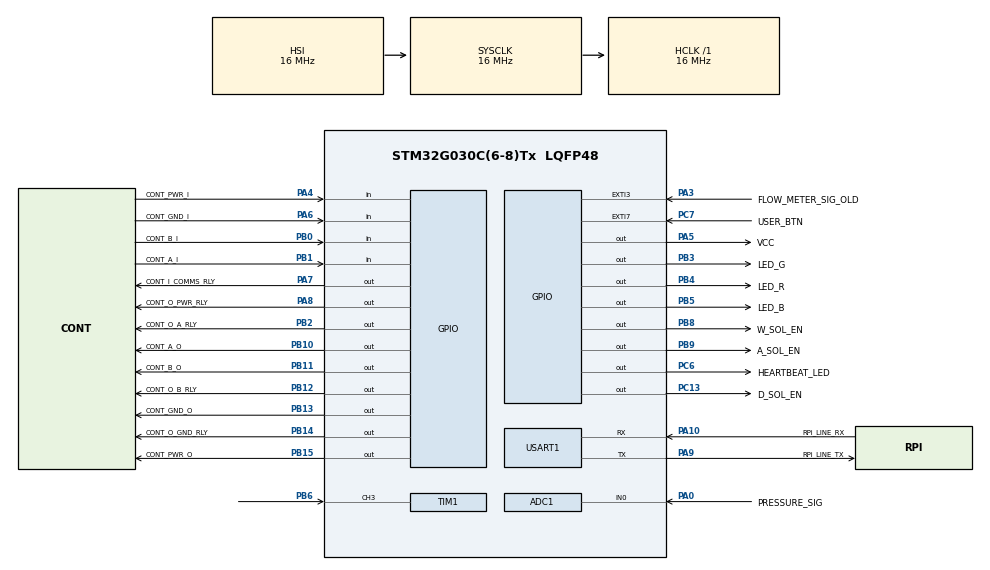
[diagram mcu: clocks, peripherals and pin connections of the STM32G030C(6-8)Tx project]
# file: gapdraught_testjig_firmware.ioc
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ADC1.Channel-0\#ChannelRegularConversion=ADC_CHANNEL_0
ADC1.NbrOfConversionFlag=1
ADC1.Rank-0\#ChannelRegularConversion=1
ADC1.SamplingTime-0\#ChannelRegularConversion=ADC_SAMPLINGTIME_COMMON_1
ADC1.SamplingTimeCommon1=ADC_SAMPLETIME_79CYCLES_5
ADC1.SamplingTimeCommon2=ADC_SAMPLETIME_79CYCLES_5
ADC1.SelectedChannel=ADC_CHANNEL_0
ADC1.master=1
Mcu.Family=STM32G0
Mcu.Name=STM32G030C(6-8)Tx
Mcu.Package=LQFP48
NVIC.TIM17_IRQn=true\:3\:0\:false\:false\:true\:false\:true\:true
NVIC.TimeBase=TIM17_IRQn
NVIC.TimeBaseIP=TIM17
NVIC.USART1_IRQn=true\:0\:0\:false\:false\:true\:true\:true\:true
PA0.GPIO_Label=PRESSURE_SIG
PA0.Mode=IN0
PA0.Signal=ADC1_IN0
PA10.GPIO_Label=RPi_LINE_RX
PA10.Mode=Asynchronous
PA10.Signal=USART1_RX
PA13.Mode=Serial_Wire
PA13.Signal=SYS_SWDIO
PA14-BOOT0.Mode=Serial_Wire
PA14-BOOT0.Signal=SYS_SWCLK
PA2.GPIO_Label=TAG_TX
PA2.Signal=USART2_TX
PA3.GPIO_Label=FLOW_METER_SIG_OLD
PA3.GPIO_ModeDefaultEXTI=GPIO_MODE_IT_FALLING
PA3.Signal=GPXTI3
PA4.GPIO_Label=CONT_PWR_I
PA4.Signal=GPIO_Input
PA5.GPIO_Label=VCC
PA5.Signal=GPIO_Output
PA6.GPIO_Label=CONT_GND_I
PA6.Signal=GPIO_Input
PA7.GPIO_Label=CONT_I_COMMS_RLY
PA7.Signal=GPIO_Output
PA8.GPIO_Label=CONT_O_PWR_RLY
PA8.Signal=GPIO_Output
PA9.GPIO_Label=RPi_LINE_TX
PA9.Mode=Asynchronous
PA9.Signal=USART1_TX
PB0.GPIO_Label=CONT_B_I
PB0.Signal=GPIO_Input
PB1.GPIO_Label=CONT_A_I
PB1.Signal=GPIO_Input
PB10.GPIO_Label=CONT_A_O
PB10.GPIO_ModeDefaultOutputPP=GPIO_MODE_OUTPUT_OD
PB10.GPIO_PuPd=GPIO_NOPULL
PB10.Signal=GPIO_Output
PB11.GPIO_Label=CONT_B_O
PB11.GPIO_ModeDefaultOutputPP=GPIO_MODE_OUTPUT_OD
PB11.GPIO_PuPd=GPIO_NOPULL
PB11.Signal=GPIO_Output
PB12.GPIO_Label=CONT_O_B_RLY
PB12.Signal=GPIO_Output
PB13.GPIO_Label=CONT_GND_O
PB13.GPIO_ModeDefaultOutputPP=GPIO_MODE_OUTPUT_OD
PB13.GPIO_PuPd=GPIO_NOPULL
PB13.Signal=GPIO_Output
PB14.GPIO_Label=CONT_O_GND_RLY
PB14.Signal=GPIO_Output
PB15.GPIO_Label=CONT_PWR_O
PB15.GPIO_ModeDefaultOutputPP=GPIO_MODE_OUTPUT_OD
PB15.GPIO_PuPd=GPIO_NOPULL
PB15.Signal=GPIO_Output
PB2.GPIO_Label=CONT_O_A_RLY
PB2.Signal=GPIO_Output
PB3.GPIO_Label=LED_G
PB3.GPIO_ModeDefaultOutputPP=GPIO_MODE_OUTPUT_OD
PB3.GPIO_PuPd=GPIO_NOPULL
PB3.Signal=GPIO_Output
PB4.GPIO_Label=LED_R
PB4.GPIO_ModeDefaultOutputPP=GPIO_MODE_OUTPUT_OD
PB4.GPIO_PuPd=GPIO_NOPULL
PB4.Signal=GPIO_Output
PB5.GPIO_Label=LED_B
PB5.GPIO_ModeDefaultOutputPP=GPIO_MODE_OUTPUT_OD
PB5.GPIO_PuPd=GPIO_NOPULL
PB5.Signal=GPIO_Output
PB6.Signal=S_TIM1_CH3
PB8.GPIO_Label=W_SOL_EN
PB8.Signal=GPIO_Output
PB9.GPIO_Label=A_SOL_EN
PB9.Signal=GPIO_Output
PC13.GPIO_Label=D_SOL_EN
PC13.Signal=GPIO_Output
PC6.GPIO_Label=HEARTBEAT_LED
PC6.GPIO_ModeDefaultOutputPP=GPIO_MODE_OUTPUT_OD
PC6.GPIO_PuPd=GPIO_NOPULL
PC6.Signal=GPIO_Output
PC7.GPIO_Label=USER_BTN
PC7.Signal=GPXTI7
ProjectManager.HeapSize=0x200
ProjectManager.StackSize=0x400
ProjectManager.TargetToolchain=STM32CubeIDE
RCC.AHBFreq_Value=16000000
RCC.CortexFreq_Value=16000000
RCC.EXTERNAL_CLOCK_VALUE=12288000
RCC.HCLKFreq_Value=16000000
RCC.HSE_VALUE=8000000
RCC.HSI_VALUE=16000000
RCC.LSE_VALUE=32768
RCC.SYSCLKFreq_VALUE=16000000
RCC.VCOOutputFreq_Value=128000000
SH.S_TIM1_CH3.0=TIM1_CH3,Input_Capture3_from_TI3
TIM1.Channel-Input_Capture3_from_TI3=TIM_CHANNEL_3
TIM1.ICFilter_CH3=8
TIM1.ICPolarity_CH3=TIM_INPUTCHANNELPOLARITY_FALLING
TIM1.Period=0xffff
TIM1.Prescaler=15999
USART1.VirtualMode-Asynchronous=VM_ASYNC
VP_SYS_VS_tim17.Mode=TIM17
VP_TIM1_VS_ClockSourceINT.Mode=Internal
board=custom

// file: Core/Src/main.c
/* USER CODE BEGIN Header */
/**
 ******************************************************************************
 * @file           : main.c
 * @brief          : Main program body
 ******************************************************************************
 * @attention
 *
 * Copyright (c) 2026 STMicroelectronics.
 * All rights reserved.
 *
 * This software is licensed under terms that can be found in the LICENSE file
 * in the root directory of this software component.
 * If no LICENSE file comes with this software, it is provided AS-IS.
 *
 ******************************************************************************
 */
/* USER CODE END Header */
#include "main.h"

/* USER CODE BEGIN Includes */
#include "comms.h"
#include "flow_cal.h"
#include "pressure_test.h"
#include "cont_test.h"
/* USER CODE END Includes */

/* USER CODE BEGIN PD */
#define HEARTBEAT_PERIOD_MS 1000
#define DEBUG_FLASH_PERIOD_MS 500
/* USER CODE END PD */

ADC_HandleTypeDef hadc1;

TIM_HandleTypeDef htim1;

UART_HandleTypeDef huart1;

/* USER CODE BEGIN PV */
uint32_t last_beat = 0;
uint32_t last_flash = 0;
States_t state = IDLE_COMMS;
uint8_t debug_flash_mode = 0;
/* USER CODE END PV */

void SystemClock_Config(void);
static void MX_GPIO_Init(void);
static void MX_ADC1_Init(void);
static void MX_USART1_UART_Init(void);
static void MX_TIM1_Init(void);
/* USER CODE BEGIN PFP */
void Heartbeat(void);
/* USER CODE END PFP */

int main(void)
{

  /* MCU Configuration--------------------------------------------------------*/

  /* Reset of all peripherals, Initializes the Flash interface and the Systick. */
  HAL_Init();

  /* Configure the system clock */
  SystemClock_Config();

  /* Initialize all configured peripherals */
  MX_GPIO_Init();
  MX_ADC1_Init();
  MX_USART1_UART_Init();
  MX_TIM1_Init();
  /* USER CODE BEGIN 2 */
	InitComms(&huart1);
	FlowMeter_Init(&htim1);
  /* USER CODE END 2 */

  /* Infinite loop */
	while (1) {

    /* USER CODE BEGIN 3 */
		RunComms();
		PressureTest();
		ContTest();
		FlowCalibration();
		Heartbeat();
	}
  /* USER CODE END 3 */
}

void SystemClock_Config(void)
{
  RCC_OscInitTypeDef RCC_OscInitStruct = {0};
  RCC_ClkInitTypeDef RCC_ClkInitStruct = {0};

  /** Configure the main internal regulator output voltage
  */
  HAL_PWREx_ControlVoltageScaling(PWR_REGULATOR_VOLTAGE_SCALE1);

  /** Initializes the RCC Oscillators according to the specified parameters
  * in the RCC_OscInitTypeDef structure.
  */
  RCC_OscInitStruct.OscillatorType = RCC_OSCILLATORTYPE_HSI;
  RCC_OscInitStruct.HSIState = RCC_HSI_ON;
  RCC_OscInitStruct.HSIDiv = RCC_HSI_DIV1;
  RCC_OscInitStruct.HSICalibrationValue = RCC_HSICALIBRATION_DEFAULT;
  RCC_OscInitStruct.PLL.PLLState = RCC_PLL_NONE;
  if (HAL_RCC_OscConfig(&RCC_OscInitStruct) != HAL_OK)
  {
    Error_Handler();
  }

  /** Initializes the CPU, AHB and APB buses clocks
  */
  RCC_ClkInitStruct.ClockType = RCC_CLOCKTYPE_HCLK|RCC_CLOCKTYPE_SYSCLK
                              |RCC_CLOCKTYPE_PCLK1;
  RCC_ClkInitStruct.SYSCLKSource = RCC_SYSCLKSOURCE_HSI;
  RCC_ClkInitStruct.AHBCLKDivider = RCC_SYSCLK_DIV1;
  RCC_ClkInitStruct.APB1CLKDivider = RCC_HCLK_DIV1;

  if (HAL_RCC_ClockConfig(&RCC_ClkInitStruct, FLASH_LATENCY_0) != HAL_OK)
  {
    Error_Handler();
  }
}

static void MX_ADC1_Init(void)
{

  ADC_ChannelConfTypeDef sConfig = {0};

  /** Configure the global features of the ADC (Clock, Resolution, Data Alignment and number of conversion)
  */
  hadc1.Instance = ADC1;
  hadc1.Init.ClockPrescaler = ADC_CLOCK_SYNC_PCLK_DIV2;
  hadc1.Init.Resolution = ADC_RESOLUTION_12B;
  hadc1.Init.DataAlign = ADC_DATAALIGN_RIGHT;
  hadc1.Init.ScanConvMode = ADC_SCAN_DISABLE;
  hadc1.Init.EOCSelection = ADC_EOC_SINGLE_CONV;
  hadc1.Init.LowPowerAutoWait = DISABLE;
  hadc1.Init.LowPowerAutoPowerOff = DISABLE;
  hadc1.Init.ContinuousConvMode = DISABLE;
  hadc1.Init.NbrOfConversion = 1;
  hadc1.Init.DiscontinuousConvMode = DISABLE;
  hadc1.Init.ExternalTrigConv = ADC_SOFTWARE_START;
  hadc1.Init.ExternalTrigConvEdge = ADC_EXTERNALTRIGCONVEDGE_NONE;
  hadc1.Init.DMAContinuousRequests = DISABLE;
  hadc1.Init.Overrun = ADC_OVR_DATA_PRESERVED;
  hadc1.Init.SamplingTimeCommon1 = ADC_SAMPLETIME_79CYCLES_5;
  hadc1.Init.SamplingTimeCommon2 = ADC_SAMPLETIME_79CYCLES_5;
  hadc1.Init.OversamplingMode = DISABLE;
  hadc1.Init.TriggerFrequencyMode = ADC_TRIGGER_FREQ_HIGH;
  if (HAL_ADC_Init(&hadc1) != HAL_OK)
  {
    Error_Handler();
  }

  /** Configure Regular Channel
  */
  sConfig.Channel = ADC_CHANNEL_0;
  sConfig.Rank = ADC_REGULAR_RANK_1;
  sConfig.SamplingTime = ADC_SAMPLINGTIME_COMMON_1;
  if (HAL_ADC_ConfigChannel(&hadc1, &sConfig) != HAL_OK)
  {
    Error_Handler();
  }

}

static void MX_TIM1_Init(void)
{

  TIM_ClockConfigTypeDef sClockSourceConfig = {0};
  TIM_MasterConfigTypeDef sMasterConfig = {0};
  TIM_IC_InitTypeDef sConfigIC = {0};

  htim1.Instance = TIM1;
  htim1.Init.Prescaler = 15999;
  htim1.Init.CounterMode = TIM_COUNTERMODE_UP;
  htim1.Init.Period = 0xffff;
  htim1.Init.ClockDivision = TIM_CLOCKDIVISION_DIV1;
  htim1.Init.RepetitionCounter = 0;
  htim1.Init.AutoReloadPreload = TIM_AUTORELOAD_PRELOAD_DISABLE;
  if (HAL_TIM_Base_Init(&htim1) != HAL_OK)
  {
    Error_Handler();
  }
  sClockSourceConfig.ClockSource = TIM_CLOCKSOURCE_INTERNAL;
  if (HAL_TIM_ConfigClockSource(&htim1, &sClockSourceConfig) != HAL_OK)
  {
    Error_Handler();
  }
  if (HAL_TIM_IC_Init(&htim1) != HAL_OK)
  {
    Error_Handler();
  }
  sMasterConfig.MasterOutputTrigger = TIM_TRGO_RESET;
  sMasterConfig.MasterOutputTrigger2 = TIM_TRGO2_RESET;
  sMasterConfig.MasterSlaveMode = TIM_MASTERSLAVEMODE_DISABLE;
  if (HAL_TIMEx_MasterConfigSynchronization(&htim1, &sMasterConfig) != HAL_OK)
  {
    Error_Handler();
  }
  sConfigIC.ICPolarity = TIM_INPUTCHANNELPOLARITY_FALLING;
  sConfigIC.ICSelection = TIM_ICSELECTION_DIRECTTI;
  sConfigIC.ICPrescaler = TIM_ICPSC_DIV1;
  sConfigIC.ICFilter = 8;
  if (HAL_TIM_IC_ConfigChannel(&htim1, &sConfigIC, TIM_CHANNEL_3) != HAL_OK)
  {
    Error_Handler();
  }

}

static void MX_USART1_UART_Init(void)
{

  huart1.Instance = USART1;
  huart1.Init.BaudRate = 115200;
  huart1.Init.WordLength = UART_WORDLENGTH_8B;
  huart1.Init.StopBits = UART_STOPBITS_1;
  huart1.Init.Parity = UART_PARITY_NONE;
  huart1.Init.Mode = UART_MODE_TX_RX;
  huart1.Init.HwFlowCtl = UART_HWCONTROL_NONE;
  huart1.Init.OverSampling = UART_OVERSAMPLING_16;
  huart1.Init.OneBitSampling = UART_ONE_BIT_SAMPLE_DISABLE;
  huart1.Init.ClockPrescaler = UART_PRESCALER_DIV1;
  huart1.AdvancedInit.AdvFeatureInit = UART_ADVFEATURE_NO_INIT;
  if (HAL_UART_Init(&huart1) != HAL_OK)
  {
    Error_Handler();
  }
  if (HAL_UARTEx_SetTxFifoThreshold(&huart1, UART_TXFIFO_THRESHOLD_1_8) != HAL_OK)
  {
    Error_Handler();
  }
  if (HAL_UARTEx_SetRxFifoThreshold(&huart1, UART_RXFIFO_THRESHOLD_1_8) != HAL_OK)
  {
    Error_Handler();
  }
  if (HAL_UARTEx_DisableFifoMode(&huart1) != HAL_OK)
  {
    Error_Handler();
  }

}

static void MX_GPIO_Init(void)
{
  GPIO_InitTypeDef GPIO_InitStruct = {0};

  /* GPIO Ports Clock Enable */
  __HAL_RCC_GPIOC_CLK_ENABLE();
  __HAL_RCC_GPIOA_CLK_ENABLE();
  __HAL_RCC_GPIOB_CLK_ENABLE();

  /*Configure GPIO pin Output Level */
  HAL_GPIO_WritePin(GPIOC, D_SOL_EN_Pin|HEARTBEAT_LED_Pin, GPIO_PIN_RESET);

  /*Configure GPIO pin Output Level */
  HAL_GPIO_WritePin(GPIOA, VCC_Pin|CONT_I_COMMS_RLY_Pin|CONT_O_PWR_RLY_Pin, GPIO_PIN_RESET);

  /*Configure GPIO pin Output Level */
  HAL_GPIO_WritePin(GPIOB, CONT_O_A_RLY_Pin|CONT_A_O_Pin|CONT_B_O_Pin|CONT_O_B_RLY_Pin
                          |CONT_GND_O_Pin|CONT_O_GND_RLY_Pin|CONT_PWR_O_Pin|LED_G_Pin
                          |LED_R_Pin|LED_B_Pin|W_SOL_EN_Pin|A_SOL_EN_Pin, GPIO_PIN_RESET);

  /*Configure GPIO pin : D_SOL_EN_Pin */
  GPIO_InitStruct.Pin = D_SOL_EN_Pin;
  GPIO_InitStruct.Mode = GPIO_MODE_OUTPUT_PP;
  GPIO_InitStruct.Pull = GPIO_NOPULL;
  GPIO_InitStruct.Speed = GPIO_SPEED_FREQ_LOW;
  HAL_GPIO_Init(D_SOL_EN_GPIO_Port, &GPIO_InitStruct);

  /*Configure GPIO pin : TAG_TX_Pin */
  GPIO_InitStruct.Pin = TAG_TX_Pin;
  GPIO_InitStruct.Mode = GPIO_MODE_AF_PP;
  GPIO_InitStruct.Pull = GPIO_NOPULL;
  GPIO_InitStruct.Speed = GPIO_SPEED_FREQ_LOW;
  GPIO_InitStruct.Alternate = GPIO_AF1_USART2;
  HAL_GPIO_Init(TAG_TX_GPIO_Port, &GPIO_InitStruct);

  /*Configure GPIO pin : FLOW_METER_SIG_OLD_Pin */
  GPIO_InitStruct.Pin = FLOW_METER_SIG_OLD_Pin;
  GPIO_InitStruct.Mode = GPIO_MODE_IT_FALLING;
  GPIO_InitStruct.Pull = GPIO_NOPULL;
  HAL_GPIO_Init(FLOW_METER_SIG_OLD_GPIO_Port, &GPIO_InitStruct);

  /*Configure GPIO pins : CONT_PWR_I_Pin CONT_GND_I_Pin */
  GPIO_InitStruct.Pin = CONT_PWR_I_Pin|CONT_GND_I_Pin;
  GPIO_InitStruct.Mode = GPIO_MODE_INPUT;
  GPIO_InitStruct.Pull = GPIO_NOPULL;
  HAL_GPIO_Init(GPIOA, &GPIO_InitStruct);

  /*Configure GPIO pins : VCC_Pin CONT_I_COMMS_RLY_Pin CONT_O_PWR_RLY_Pin */
  GPIO_InitStruct.Pin = VCC_Pin|CONT_I_COMMS_RLY_Pin|CONT_O_PWR_RLY_Pin;
  GPIO_InitStruct.Mode = GPIO_MODE_OUTPUT_PP;
  GPIO_InitStruct.Pull = GPIO_NOPULL;
  GPIO_InitStruct.Speed = GPIO_SPEED_FREQ_LOW;
  HAL_GPIO_Init(GPIOA, &GPIO_InitStruct);

  /*Configure GPIO pins : CONT_B_I_Pin CONT_A_I_Pin */
  GPIO_InitStruct.Pin = CONT_B_I_Pin|CONT_A_I_Pin;
  GPIO_InitStruct.Mode = GPIO_MODE_INPUT;
  GPIO_InitStruct.Pull = GPIO_NOPULL;
  HAL_GPIO_Init(GPIOB, &GPIO_InitStruct);

  /*Configure GPIO pins : CONT_O_A_RLY_Pin CONT_O_B_RLY_Pin CONT_O_GND_RLY_Pin W_SOL_EN_Pin
                           A_SOL_EN_Pin */
  GPIO_InitStruct.Pin = CONT_O_A_RLY_Pin|CONT_O_B_RLY_Pin|CONT_O_GND_RLY_Pin|W_SOL_EN_Pin
                          |A_SOL_EN_Pin;
  GPIO_InitStruct.Mode = GPIO_MODE_OUTPUT_PP;
  GPIO_InitStruct.Pull = GPIO_NOPULL;
  GPIO_InitStruct.Speed = GPIO_SPEED_FREQ_LOW;
  HAL_GPIO_Init(GPIOB, &GPIO_InitStruct);

  /*Configure GPIO pins : CONT_A_O_Pin CONT_B_O_Pin CONT_GND_O_Pin CONT_PWR_O_Pin
                           LED_G_Pin LED_R_Pin LED_B_Pin */
  GPIO_InitStruct.Pin = CONT_A_O_Pin|CONT_B_O_Pin|CONT_GND_O_Pin|CONT_PWR_O_Pin
                          |LED_G_Pin|LED_R_Pin|LED_B_Pin;
  GPIO_InitStruct.Mode = GPIO_MODE_OUTPUT_OD;
  GPIO_InitStruct.Pull = GPIO_NOPULL;
  GPIO_InitStruct.Speed = GPIO_SPEED_FREQ_LOW;
  HAL_GPIO_Init(GPIOB, &GPIO_InitStruct);

  /*Configure GPIO pin : HEARTBEAT_LED_Pin */
  GPIO_InitStruct.Pin = HEARTBEAT_LED_Pin;
  GPIO_InitStruct.Mode = GPIO_MODE_OUTPUT_OD;
  GPIO_InitStruct.Pull = GPIO_NOPULL;
  GPIO_InitStruct.Speed = GPIO_SPEED_FREQ_LOW;
  HAL_GPIO_Init(HEARTBEAT_LED_GPIO_Port, &GPIO_InitStruct);

  /*Configure GPIO pin : USER_BTN_Pin */
  GPIO_InitStruct.Pin = USER_BTN_Pin;
  GPIO_InitStruct.Mode = GPIO_MODE_IT_RISING;
  GPIO_InitStruct.Pull = GPIO_NOPULL;
  HAL_GPIO_Init(USER_BTN_GPIO_Port, &GPIO_InitStruct);

}

/* USER CODE BEGIN 4 */
void Heartbeat(void) {
	if (HAL_GetTick() - last_beat > HEARTBEAT_PERIOD_MS) {
		HAL_GPIO_TogglePin(HEARTBEAT_LED_GPIO_Port, HEARTBEAT_LED_Pin);
		last_beat = HAL_GetTick();
	}

}

void DebugLEDs(void) {
	if (HAL_GetTick() - last_flash >= DEBUG_FLASH_PERIOD_MS) {
		if (debug_flash_mode) {
			switch (state) {
			case IDLE_COMMS:
				break;
			case PRESSURE_TEST:
				//Magenta
				HAL_GPIO_WritePin(LED_R_GPIO_Port, LED_R_Pin, GPIO_PIN_SET);
				HAL_GPIO_WritePin(LED_B_GPIO_Port, LED_B_Pin, GPIO_PIN_SET);
				break;
			case CONT_TEST:
				//Yellow
				HAL_GPIO_WritePin(LED_G_GPIO_Port, LED_G_Pin, GPIO_PIN_SET);
				HAL_GPIO_WritePin(LED_B_GPIO_Port, LED_B_Pin, GPIO_PIN_SET);
				break;
			case FLOW_CAL:
				//Cyan
				HAL_GPIO_WritePin(LED_G_GPIO_Port, LED_G_Pin, GPIO_PIN_SET);
				HAL_GPIO_WritePin(LED_B_GPIO_Port, LED_B_Pin, GPIO_PIN_SET);
				break;
			case PASS:
				HAL_GPIO_WritePin(LED_G_GPIO_Port, LED_G_Pin, GPIO_PIN_SET);
				break;
			case FAIL:
				HAL_GPIO_WritePin(LED_R_GPIO_Port, LED_R_Pin, GPIO_PIN_SET);
				break;
			}
		} else {
			HAL_GPIO_WritePin(LED_R_GPIO_Port, LED_R_Pin, GPIO_PIN_RESET);
			HAL_GPIO_WritePin(LED_G_GPIO_Port, LED_G_Pin, GPIO_PIN_RESET);
			HAL_GPIO_WritePin(LED_B_GPIO_Port, LED_B_Pin, GPIO_PIN_RESET);
		}
		last_flash = HAL_GetTick();
		debug_flash_mode = !debug_flash_mode;
	}

}

void HAL_TIM_IC_CaptureCallback(TIM_HandleTypeDef *htim) {
	FlowMeter_IC_Callback(htim);
}
/* USER CODE END 4 */

void HAL_TIM_PeriodElapsedCallback(TIM_HandleTypeDef *htim)
{
  if (htim->Instance == TIM17)
  {
    HAL_IncTick();
  }
  /* USER CODE BEGIN Callback 1 */
	FlowMeter_OVF_Callback(htim);
  /* USER CODE END Callback 1 */
}

void Error_Handler(void)
{
	__disable_irq();
	while (1) {
	}
}
